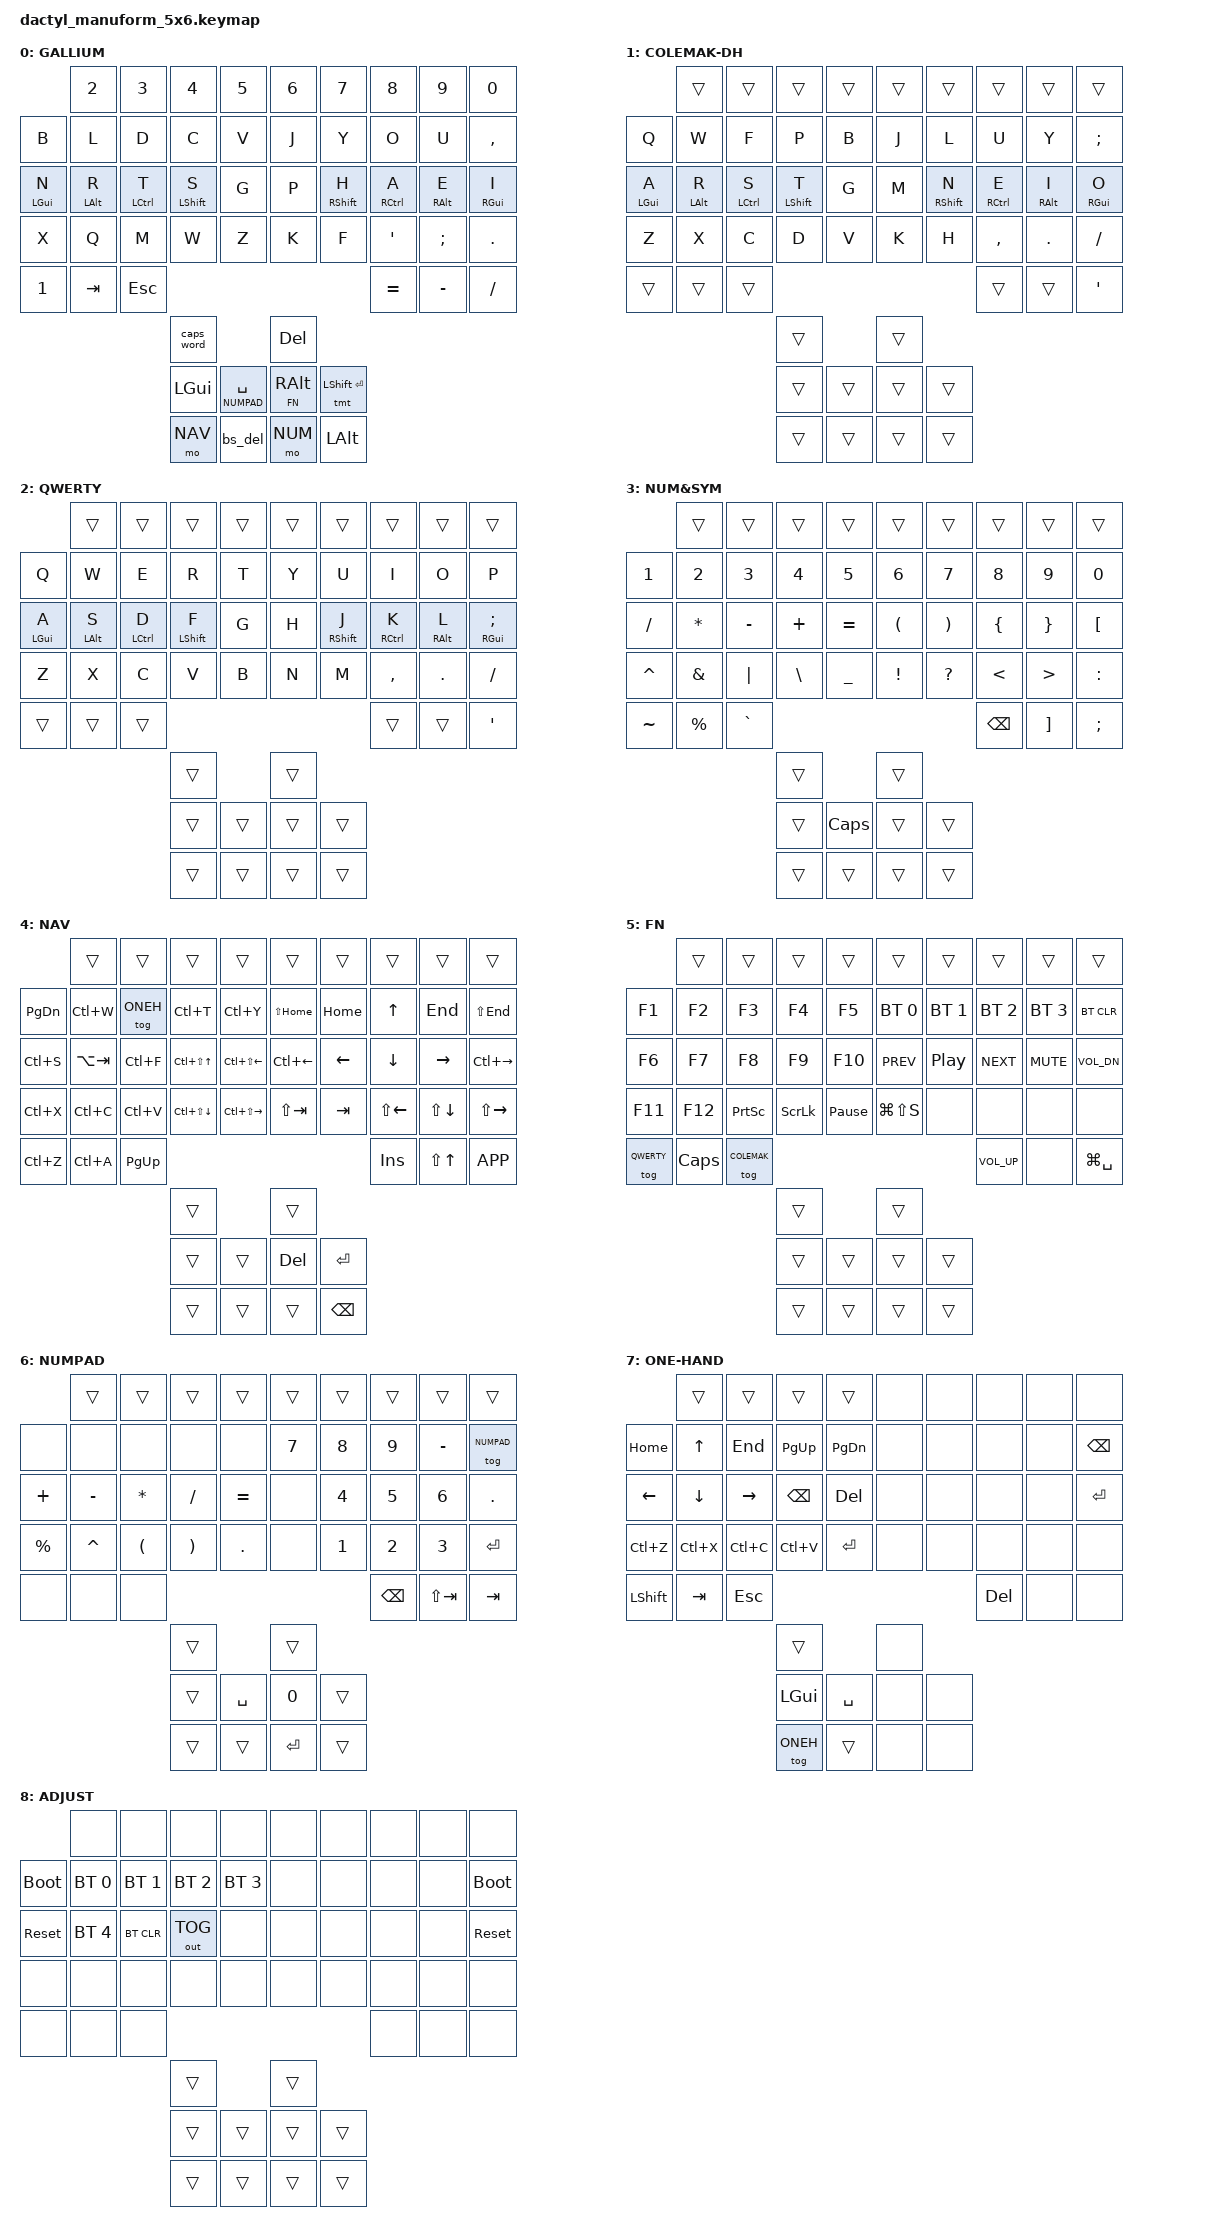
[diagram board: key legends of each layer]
/*
 * ============================================================
 * Dactyl Manuform (Cosmos, handwired) - ported from the Corne keymap
 * ============================================================
 * Hardware: 2x SuperMini nRF52840, BLE split, left = central
 * Base layer: Gallium (colstag) with home row mods (GACS)
 * Toggles on FN: Colemak-DH (left middle extra key), QWERTY (left pinky extra key)
 *
 * 55 keys. Key positions (see the matrix transform in the shield .dtsi):
 *
 *        L:  ring  mid  idx  inner         R: inner idx  mid  ring pinky
 *  number      0    1    2    3                4    5    6    7    8
 *  Q row  9   10   11   12   13               14   15   16   17   18
 *  home  19   20   21   22   23               24   25   26   27   28
 *  bottom29   30   31   32   33               34   35   36   37   38
 *  extra 39   40   41                                   42   43   44
 *  thumb single            45                 46
 *  thumb middle pair         47  48         49  50
 *  thumb bottom pair         51  52         53  54
 *                          (52 = left rest, 53 = right rest)
 *
 * Corne -> Dactyl mapping:
 *   - Corne 3x5 finger block  -> Q/home/bottom rows
 *   - Corne outer column      -> extra row (top->41/42, home->40/43, bottom->39/44)
 *   - Thumbs (rearranged 2026-09-29 from key presses): 47 Win, 48 Space/NUMPAD, 51 NAV, 52 Bspc;
 *     49 FN/AltGr, 50 Enter/Shift, 53 NUM, 54 Alt, 45 Caps Word, 46 Delete
 */

#include <behaviors.dtsi>
#include <dt-bindings/zmk/bt.h>
#include <dt-bindings/zmk/keys.h>
#include <dt-bindings/zmk/outputs.h>

#include "zmk-helpers/helper.h"

/* Layers */
#define BASE    0
#define COLEMAK 1
#define QWERTY  2
#define NUM     3
#define NAV     4
#define FN      5
#define NUMPAD  6
#define ONEH    7
#define ADJ     8

/* Position labels, same naming as zmk-helpers' Corne labels (0 = innermost column) */
#define LT0 13
#define LT1 12
#define LT2 11
#define LT3 10
#define LT4  9
#define RT0 14
#define RT1 15
#define RT2 16
#define RT3 17
#define RT4 18
#define LM0 23
#define LM1 22
#define LM2 21
#define LM3 20
#define LM4 19
#define RM0 24
#define RM1 25
#define RM2 26
#define RM3 27
#define RM4 28
#define LB0 33
#define LB1 32
#define LB2 31
#define LB3 30
#define LB4 29
#define RB0 34
#define RB1 35
#define RB2 36
#define RB3 37
#define RB4 38
#define LH0 52
#define LH1 51
#define LH2 47
#define RH0 53
#define RH1 54
#define RH2 50

#define KEYS_L 0 1 2 3 9 10 11 12 13 19 20 21 22 23 29 30 31 32 33 39 40 41
#define KEYS_R 4 5 6 7 8 14 15 16 17 18 24 25 26 27 28 34 35 36 37 38 42 43 44
#define THUMBS 45 46 47 48 49 50 51 52 53 54

#define QUICK_TAP_MS 175

/* Home row mods (same timing as the Corne) */
ZMK_BEHAVIOR(hml, hold_tap,
    flavor = "balanced";
    tapping-term-ms = <280>;
    quick-tap-ms = <QUICK_TAP_MS>;
    require-prior-idle-ms = <150>;
    bindings = <&kp>, <&kp>;
    hold-trigger-key-positions = <KEYS_R THUMBS>;
    hold-trigger-on-release;
)

ZMK_BEHAVIOR(hmr, hold_tap,
    flavor = "balanced";
    tapping-term-ms = <280>;
    quick-tap-ms = <QUICK_TAP_MS>;
    require-prior-idle-ms = <150>;
    bindings = <&kp>, <&kp>;
    hold-trigger-key-positions = <KEYS_L THUMBS>;
    hold-trigger-on-release;
)

/* Thumb mod-tap (Shift/Enter), balanced so rolls register as Enter */
ZMK_BEHAVIOR(tmt, hold_tap,
    flavor = "balanced";
    tapping-term-ms = <200>;
    quick-tap-ms = <QUICK_TAP_MS>;
    bindings = <&kp>, <&kp>;
)

/* Backspace, Delete with Shift */
ZMK_BEHAVIOR(bs_del, mod_morph,
    bindings = <&kp BSPC>, <&kp DEL>;
    mods = <(MOD_LSFT|MOD_RSFT)>;
)

/*
 * Combos: same key positions as the Corne. Letters shown are Gallium.
 * All use a 40 ms window and need 150 ms of idle before them, so letter
 * rolls inside words (e.g. "ld" in "would") can't trigger them.
 */
ZMK_COMBO(combo_esc,        &kp ESC,        LT1 LT2, BASE, 40, 150)   // C + D
ZMK_COMBO(combo_tab,        &kp TAB,        LT2 LT3, BASE, 40, 150)   // D + L
ZMK_COMBO(combo_caps_word,  &caps_word,     LM3 RM3, BASE, 40, 150)   // R + E
ZMK_COMBO(combo_del,        &kp DEL,        RT3 RT4, BASE, 40, 150)   // U + ,
ZMK_COMBO(combo_screenshot, &kp LG(LS(S)),  LB3 LB4, BASE, 40, 150)   // Q + X

ZMK_COMBO(combo_lpar, &kp LPAR, LM2 LM3, BASE, 40, 150)   // T + R
ZMK_COMBO(combo_rpar, &kp RPAR, RM3 RM2, BASE, 40, 150)   // E + A
ZMK_COMBO(combo_lbrc, &kp LBRC, LT3 LT4, BASE, 40, 150)   // L + B
ZMK_COMBO(combo_rbrc, &kp RBRC, RT2 RT3, BASE, 40, 150)   // O + U
ZMK_COMBO(combo_lbkt, &kp LBKT, LB2 LB3, BASE, 40, 150)   // M + Q
ZMK_COMBO(combo_rbkt, &kp RBKT, RB2 RB3, BASE, 40, 150)   // ' + ;

/* Hold NAV (left thumb, 51) + NUM (right thumb, 53) = ADJUST */
ZMK_CONDITIONAL_LAYER(adjust, NUM NAV, ADJ)

/ {
    behaviors {
        lt: layer_tap {
            compatible = "zmk,behavior-hold-tap";
            #binding-cells = <2>;
            flavor = "balanced";
            tapping-term-ms = <200>;
            quick-tap-ms = <175>;
            require-prior-idle-ms = <150>;
            bindings = <&mo>, <&kp>;
        };
    };

    keymap {
        compatible = "zmk,keymap";

        base_layer {
            display-name = "GALLIUM";
            bindings = <
             &kp N2        &kp N3        &kp N4         &kp N5              &kp N6   &kp N7         &kp N8         &kp N9        &kp N0
&kp B        &kp L         &kp D         &kp C          &kp V               &kp J    &kp Y          &kp O          &kp U         &kp COMMA
&hml LGUI N  &hml LALT R   &hml LCTRL T  &hml LSHFT S   &kp G               &kp P    &hmr RSHFT H   &hmr RCTRL A   &hmr RALT E   &hmr RGUI I
&kp X        &kp Q         &kp M         &kp W          &kp Z               &kp K    &kp F          &kp SQT        &kp SEMI      &kp DOT
&kp N1       &kp TAB       &kp ESC                                                                  &kp EQUAL      &kp MINUS     &kp FSLH
                                         &caps_word                         &kp DEL
                                                &kp LGUI  &lt NUMPAD SPACE  &lt FN RALT  &tmt LSHFT RET
                                                &mo NAV   &bs_del           &mo NUM      &kp LALT
            >;
        };

        colemak_layer {
            display-name = "COLEMAK-DH";
            bindings = <
             &trans        &trans        &trans         &trans              &trans   &trans         &trans         &trans        &trans
&kp Q        &kp W         &kp F         &kp P          &kp B               &kp J    &kp L          &kp U          &kp Y         &kp SEMI
&hml LGUI A  &hml LALT R   &hml LCTRL S  &hml LSHFT T   &kp G               &kp M    &hmr RSHFT N   &hmr RCTRL E   &hmr RALT I   &hmr RGUI O
&kp Z        &kp X         &kp C         &kp D          &kp V               &kp K    &kp H          &kp COMMA      &kp DOT       &kp FSLH
&trans       &trans        &trans                                                                   &trans         &trans        &kp SQT
                                         &trans                             &trans
                                                &trans    &trans            &trans          &trans
                                                &trans    &trans            &trans          &trans
            >;
        };

        qwerty_layer {
            display-name = "QWERTY";
            bindings = <
             &trans        &trans        &trans         &trans              &trans   &trans         &trans         &trans        &trans
&kp Q        &kp W         &kp E         &kp R          &kp T               &kp Y    &kp U          &kp I          &kp O         &kp P
&hml LGUI A  &hml LALT S   &hml LCTRL D  &hml LSHFT F   &kp G               &kp H    &hmr RSHFT J   &hmr RCTRL K   &hmr RALT L   &hmr RGUI SEMI
&kp Z        &kp X         &kp C         &kp V          &kp B               &kp N    &kp M          &kp COMMA      &kp DOT       &kp FSLH
&trans       &trans        &trans                                                                   &trans         &trans        &kp SQT
                                         &trans                             &trans
                                                &trans    &trans            &trans          &trans
                                                &trans    &trans            &trans          &trans
            >;
        };

        num_sym_layer {
            display-name = "NUM&SYM";
            bindings = <
             &trans        &trans        &trans         &trans              &trans    &trans     &trans         &trans        &trans
&kp N1       &kp N2        &kp N3        &kp N4         &kp N5              &kp N6    &kp N7     &kp N8         &kp N9        &kp N0
&kp FSLH     &kp STAR      &kp MINUS     &kp PLUS       &kp EQUAL           &kp LPAR  &kp RPAR   &kp LBRC       &kp RBRC      &kp LBKT
&kp CARET    &kp AMPS      &kp PIPE      &kp BSLH       &kp UNDER           &kp EXCL  &kp QMARK  &kp LESS_THAN  &kp GREATER_THAN &kp COLON
&kp TILDE    &kp PERCENT   &kp GRAVE                                                             &kp BSPC       &kp RBKT      &kp SEMI
                                         &trans                             &trans
                                                &trans    &kp CAPS         &trans    &trans
                                                &trans    &trans            &trans    &trans
            >;
        };

        nav_layer {
            display-name = "NAV";
            bindings = <
             &trans        &trans        &trans              &trans                  &trans          &trans     &trans        &trans        &trans
&kp PG_DN    &kp LC(W)     &tog ONEH     &kp LC(T)           &kp LC(Y)               &kp LS(HOME)    &kp HOME   &kp UP        &kp END       &kp LS(END)
&kp LC(S)    &kp LA(TAB)   &kp LC(F)     &kp LC(LS(UP))      &kp LC(LS(LEFT))        &kp LC(LEFT)    &kp LEFT   &kp DOWN      &kp RIGHT     &kp LC(RIGHT)
&kp LC(X)    &kp LC(C)     &kp LC(V)     &kp LC(LS(DOWN))    &kp LC(LS(RIGHT))       &kp LS(TAB)     &kp TAB    &kp LS(LEFT)  &kp LS(DOWN)  &kp LS(RIGHT)
&kp LC(Z)    &kp LC(A)     &kp PG_UP                                                                            &kp INS       &kp LS(UP)    &kp K_APP
                                         &trans                                      &trans
                                                &trans    &trans                     &kp DEL   &kp RET
                                                &trans    &trans                     &trans    &kp BSPC
            >;
        };

        fn_layer {
            display-name = "FN";
            bindings = <
             &trans        &trans        &trans            &trans                &trans          &trans            &trans        &trans        &trans
&kp F1       &kp F2        &kp F3        &kp F4            &kp F5                &bt BT_SEL 0    &bt BT_SEL 1      &bt BT_SEL 2  &bt BT_SEL 3  &bt BT_CLR
&kp F6       &kp F7        &kp F8        &kp F9            &kp F10               &kp C_PREV      &kp C_PLAY_PAUSE  &kp C_NEXT    &kp C_MUTE    &kp C_VOL_DN
&kp F11      &kp F12       &kp PSCRN     &kp SLCK          &kp PAUSE_BREAK       &kp LG(LS(S))   &none             &none         &none         &none
&tog QWERTY  &kp CAPS      &tog COLEMAK                                                                                  &kp C_VOL_UP  &none         &kp LG(SPACE)
                                         &trans                                  &trans
                                                &trans    &trans                 &trans          &trans
                                                &trans    &trans                 &trans          &trans
            >;
        };

        numpad_layer {
            display-name = "NUMPAD";
            bindings = <
             &trans        &trans        &trans         &trans               &trans    &trans     &trans     &trans     &trans
&none        &none         &none         &none          &none                &kp N7    &kp N8     &kp N9     &kp MINUS  &tog NUMPAD
&kp PLUS     &kp MINUS     &kp STAR      &kp FSLH       &kp EQUAL            &none     &kp N4     &kp N5     &kp N6     &kp DOT
&kp PERCENT  &kp CARET     &kp LPAR      &kp RPAR       &kp DOT              &none     &kp N1     &kp N2     &kp N3     &kp RET
&none        &none         &none                                                                  &kp BSPC   &kp LS(TAB) &kp TAB
                                         &trans                              &trans
                                                &trans    &kp SPACE         &kp N0   &trans
                                                &trans    &trans             &kp RET  &trans
            >;
        };

        one_hand_layer {
            display-name = "ONE-HAND";
            bindings = <
             &trans        &trans        &trans         &trans               &none     &none      &none      &none      &none
&kp HOME     &kp UP        &kp END       &kp PG_UP      &kp PG_DN            &none     &none      &none      &none      &kp BSPC
&kp LEFT     &kp DOWN      &kp RIGHT     &kp BSPC       &kp DEL              &none     &none      &none      &none      &kp RET
&kp LC(Z)    &kp LC(X)     &kp LC(C)     &kp LC(V)      &kp RET              &none     &none      &none      &none      &none
&kp LSHFT    &kp TAB       &kp ESC                                                                &kp DEL    &none      &none
                                         &trans                              &none
                                                &kp LGUI  &kp SPACE         &none     &none
                                                &tog ONEH &trans            &none     &none
            >;
        };

        adjust_layer {
            display-name = "ADJUST";
            bindings = <
             &none         &none         &none          &none                &none     &none      &none      &none      &none
&bootloader  &bt BT_SEL 0  &bt BT_SEL 1  &bt BT_SEL 2   &bt BT_SEL 3         &none     &none      &none      &none      &bootloader
&sys_reset   &bt BT_SEL 4  &bt BT_CLR    &out OUT_TOG   &none                &none     &none      &none      &none      &sys_reset
&none        &none         &none         &none          &none                &none     &none      &none      &none      &none
&none        &none         &none                                                                  &none      &none      &none
                                         &trans                              &trans
                                                &trans    &trans             &trans    &trans
                                                &trans    &trans             &trans    &trans
            >;
        };
    };
};
